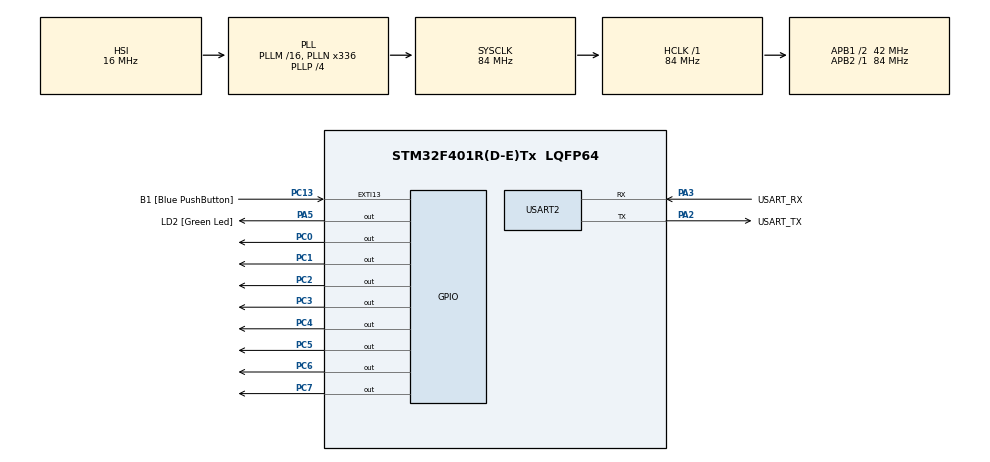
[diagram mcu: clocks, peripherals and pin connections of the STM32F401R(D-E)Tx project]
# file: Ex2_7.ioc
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Mcu.Family=STM32F4
Mcu.Name=STM32F401R(D-E)Tx
Mcu.Package=LQFP64
NVIC.EXTI15_10_IRQn=true\:0\:0\:false\:false\:true\:true\:true\:true
NVIC.PriorityGroup=NVIC_PRIORITYGROUP_0
PA13.GPIO_Label=TMS
PA13.Mode=Serial_Wire
PA13.Signal=SYS_JTMS-SWDIO
PA14.GPIO_Label=TCK
PA14.Mode=Serial_Wire
PA14.Signal=SYS_JTCK-SWCLK
PA2.GPIO_Label=USART_TX
PA2.GPIO_Mode=GPIO_MODE_AF_PP
PA2.GPIO_PuPd=GPIO_NOPULL
PA2.GPIO_Speed=GPIO_SPEED_FREQ_LOW
PA2.Mode=Asynchronous
PA2.Signal=USART2_TX
PA3.GPIO_Label=USART_RX
PA3.GPIO_Mode=GPIO_MODE_AF_PP
PA3.GPIO_PuPd=GPIO_NOPULL
PA3.GPIO_Speed=GPIO_SPEED_FREQ_LOW
PA3.Mode=Asynchronous
PA3.Signal=USART2_RX
PA5.GPIO_Label=LD2 [Green Led]
PA5.GPIO_Mode=GPIO_MODE_OUTPUT_PP
PA5.GPIO_PuPd=GPIO_NOPULL
PA5.GPIO_Speed=GPIO_SPEED_FREQ_LOW
PA5.Signal=GPIO_Output
PB3.GPIO_Label=SWO
PB3.Signal=SYS_JTDO-SWO
PC0.Signal=GPIO_Output
PC1.Signal=GPIO_Output
PC13-ANTI_TAMP.GPIO_Label=B1 [Blue PushButton]
PC13-ANTI_TAMP.GPIO_ModeDefaultEXTI=GPIO_MODE_IT_FALLING
PC13-ANTI_TAMP.GPIO_PuPd=GPIO_NOPULL
PC13-ANTI_TAMP.Signal=GPXTI13
PC14-OSC32_IN.Mode=LSE-External-Oscillator
PC14-OSC32_IN.Signal=RCC_OSC32_IN
PC15-OSC32_OUT.Mode=LSE-External-Oscillator
PC15-OSC32_OUT.Signal=RCC_OSC32_OUT
PC2.Signal=GPIO_Output
PC3.Signal=GPIO_Output
PC4.Signal=GPIO_Output
PC5.Signal=GPIO_Output
PC6.Signal=GPIO_Output
PC7.Signal=GPIO_Output
PH0\ -\ OSC_IN.Mode=HSE-External-Clock-Source
PH0\ -\ OSC_IN.Signal=RCC_OSC_IN
PH1\ -\ OSC_OUT.Mode=HSE-External-Clock-Source
PH1\ -\ OSC_OUT.Signal=RCC_OSC_OUT
ProjectManager.HeapSize=0x200
ProjectManager.StackSize=0x400
ProjectManager.TargetToolchain=STM32CubeIDE
RCC.48MHZClocksFreq_Value=48000000
RCC.AHBFreq_Value=84000000
RCC.APB1CLKDivider=RCC_HCLK_DIV2
RCC.APB1Freq_Value=42000000
RCC.APB1TimFreq_Value=84000000
RCC.APB2Freq_Value=84000000
RCC.APB2TimFreq_Value=84000000
RCC.CortexFreq_Value=84000000
RCC.HCLKFreq_Value=84000000
RCC.HSE_VALUE=8000000
RCC.HSI_VALUE=16000000
RCC.PLLN=336
RCC.PLLP=RCC_PLLP_DIV4
RCC.PLLQ=7
RCC.SYSCLKFreq_VALUE=84000000
RCC.SYSCLKSource=RCC_SYSCLKSOURCE_PLLCLK
RCC.VCOOutputFreq_Value=336000000
USART2.VirtualMode=VM_ASYNC
board=NUCLEO-F401RE

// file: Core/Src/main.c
/* USER CODE BEGIN Header */
/**
  ******************************************************************************
  * @file           : main.c
  * @brief          : Main program body
  ******************************************************************************
  * @attention
  *
  * Copyright (c) 2023 STMicroelectronics.
  * All rights reserved.
  *
  * This software is licensed under terms that can be found in the LICENSE file
  * in the root directory of this software component.
  * If no LICENSE file comes with this software, it is provided AS-IS.
  *
  ******************************************************************************
  */
/* USER CODE END Header */
#include "main.h"

UART_HandleTypeDef huart2;

/* USER CODE BEGIN PV */
uint32_t sec[10] = {
		0x003f00c0,  // 0
		0x000600f9,  // 1
		0x005b00a4,  // 2
		0x004f00b0,  // 3
		0x00660099,  // 4
		0x006d0092,  // 5
		0x007d0082,  // 6
		0x002700d8,  // 7
		0x007f0080,  // 8
		0x006f0090   // 9
};
/* USER CODE END PV */

void SystemClock_Config(void);
static void MX_GPIO_Init(void);
static void MX_USART2_UART_Init(void);

int main(void)
{
  /* USER CODE BEGIN 1 */
  int16_t count = 0;
  GPIO_PinState button_curr, button_prev, button_temp;
  /* USER CODE END 1 */

  /* MCU Configuration--------------------------------------------------------*/

  /* Reset of all peripherals, Initializes the Flash interface and the Systick. */
  HAL_Init();

  /* Configure the system clock */
  SystemClock_Config();

  /* Initialize all configured peripherals */
  MX_GPIO_Init();
  MX_USART2_UART_Init();
  /* USER CODE BEGIN 2 */
  GPIOC->BSRR = sec[0];  // 최초에 출력하는 값을 보여줌
  /* USER CODE END 2 */

  /* Infinite loop */
  /* USER CODE BEGIN WHILE */
  while (1)
  {
	  // 디바운싱 코드
	  button_temp = HAL_GPIO_ReadPin(GPIOC, GPIO_PIN_13);
	  HAL_Delay(10);
	  if(button_temp == HAL_GPIO_ReadPin(GPIOC, GPIO_PIN_13))
	  {
		  button_curr = button_temp;
	  }

	  // 버튼이 눌렸을 때 7-세그먼트 값 갱신
	  if(button_curr == GPIO_PIN_RESET && button_prev == GPIO_PIN_SET)
	  {
		  GPIOC->BSRR = sec[++count % 10];
	  }
	  button_prev = button_curr;
    /* USER CODE END WHILE */

  }
}

void SystemClock_Config(void)
{
  RCC_OscInitTypeDef RCC_OscInitStruct = {0};
  RCC_ClkInitTypeDef RCC_ClkInitStruct = {0};

  /** Configure the main internal regulator output voltage
  */
  __HAL_RCC_PWR_CLK_ENABLE();
  __HAL_PWR_VOLTAGESCALING_CONFIG(PWR_REGULATOR_VOLTAGE_SCALE2);

  /** Initializes the RCC Oscillators according to the specified parameters
  * in the RCC_OscInitTypeDef structure.
  */
  RCC_OscInitStruct.OscillatorType = RCC_OSCILLATORTYPE_HSI;
  RCC_OscInitStruct.HSIState = RCC_HSI_ON;
  RCC_OscInitStruct.HSICalibrationValue = RCC_HSICALIBRATION_DEFAULT;
  RCC_OscInitStruct.PLL.PLLState = RCC_PLL_ON;
  RCC_OscInitStruct.PLL.PLLSource = RCC_PLLSOURCE_HSI;
  RCC_OscInitStruct.PLL.PLLM = 16;
  RCC_OscInitStruct.PLL.PLLN = 336;
  RCC_OscInitStruct.PLL.PLLP = RCC_PLLP_DIV4;
  RCC_OscInitStruct.PLL.PLLQ = 7;
  if (HAL_RCC_OscConfig(&RCC_OscInitStruct) != HAL_OK)
  {
    Error_Handler();
  }

  /** Initializes the CPU, AHB and APB buses clocks
  */
  RCC_ClkInitStruct.ClockType = RCC_CLOCKTYPE_HCLK|RCC_CLOCKTYPE_SYSCLK
                              |RCC_CLOCKTYPE_PCLK1|RCC_CLOCKTYPE_PCLK2;
  RCC_ClkInitStruct.SYSCLKSource = RCC_SYSCLKSOURCE_PLLCLK;
  RCC_ClkInitStruct.AHBCLKDivider = RCC_SYSCLK_DIV1;
  RCC_ClkInitStruct.APB1CLKDivider = RCC_HCLK_DIV2;
  RCC_ClkInitStruct.APB2CLKDivider = RCC_HCLK_DIV1;

  if (HAL_RCC_ClockConfig(&RCC_ClkInitStruct, FLASH_LATENCY_2) != HAL_OK)
  {
    Error_Handler();
  }
}

static void MX_USART2_UART_Init(void)
{

  huart2.Instance = USART2;
  huart2.Init.BaudRate = 115200;
  huart2.Init.WordLength = UART_WORDLENGTH_8B;
  huart2.Init.StopBits = UART_STOPBITS_1;
  huart2.Init.Parity = UART_PARITY_NONE;
  huart2.Init.Mode = UART_MODE_TX_RX;
  huart2.Init.HwFlowCtl = UART_HWCONTROL_NONE;
  huart2.Init.OverSampling = UART_OVERSAMPLING_16;
  if (HAL_UART_Init(&huart2) != HAL_OK)
  {
    Error_Handler();
  }

}

static void MX_GPIO_Init(void)
{
  GPIO_InitTypeDef GPIO_InitStruct = {0};

  /* GPIO Ports Clock Enable */
  __HAL_RCC_GPIOC_CLK_ENABLE();
  __HAL_RCC_GPIOH_CLK_ENABLE();
  __HAL_RCC_GPIOA_CLK_ENABLE();
  __HAL_RCC_GPIOB_CLK_ENABLE();

  /*Configure GPIO pin Output Level */
  HAL_GPIO_WritePin(GPIOC, GPIO_PIN_0|GPIO_PIN_1|GPIO_PIN_2|GPIO_PIN_3
                          |GPIO_PIN_4|GPIO_PIN_5|GPIO_PIN_6|GPIO_PIN_7, GPIO_PIN_RESET);

  /*Configure GPIO pin Output Level */
  HAL_GPIO_WritePin(LD2_GPIO_Port, LD2_Pin, GPIO_PIN_RESET);

  /*Configure GPIO pin : B1_Pin */
  GPIO_InitStruct.Pin = B1_Pin;
  GPIO_InitStruct.Mode = GPIO_MODE_IT_FALLING;
  GPIO_InitStruct.Pull = GPIO_NOPULL;
  HAL_GPIO_Init(B1_GPIO_Port, &GPIO_InitStruct);

  /*Configure GPIO pins : PC0 PC1 PC2 PC3
                           PC4 PC5 PC6 PC7 */
  GPIO_InitStruct.Pin = GPIO_PIN_0|GPIO_PIN_1|GPIO_PIN_2|GPIO_PIN_3
                          |GPIO_PIN_4|GPIO_PIN_5|GPIO_PIN_6|GPIO_PIN_7;
  GPIO_InitStruct.Mode = GPIO_MODE_OUTPUT_PP;
  GPIO_InitStruct.Pull = GPIO_NOPULL;
  GPIO_InitStruct.Speed = GPIO_SPEED_FREQ_LOW;
  HAL_GPIO_Init(GPIOC, &GPIO_InitStruct);

  /*Configure GPIO pin : LD2_Pin */
  GPIO_InitStruct.Pin = LD2_Pin;
  GPIO_InitStruct.Mode = GPIO_MODE_OUTPUT_PP;
  GPIO_InitStruct.Pull = GPIO_NOPULL;
  GPIO_InitStruct.Speed = GPIO_SPEED_FREQ_LOW;
  HAL_GPIO_Init(LD2_GPIO_Port, &GPIO_InitStruct);

  /* EXTI interrupt init*/
  HAL_NVIC_SetPriority(EXTI15_10_IRQn, 0, 0);
  HAL_NVIC_EnableIRQ(EXTI15_10_IRQn);

}

void Error_Handler(void)
{
  __disable_irq();
  while (1)
  {
  }
}
